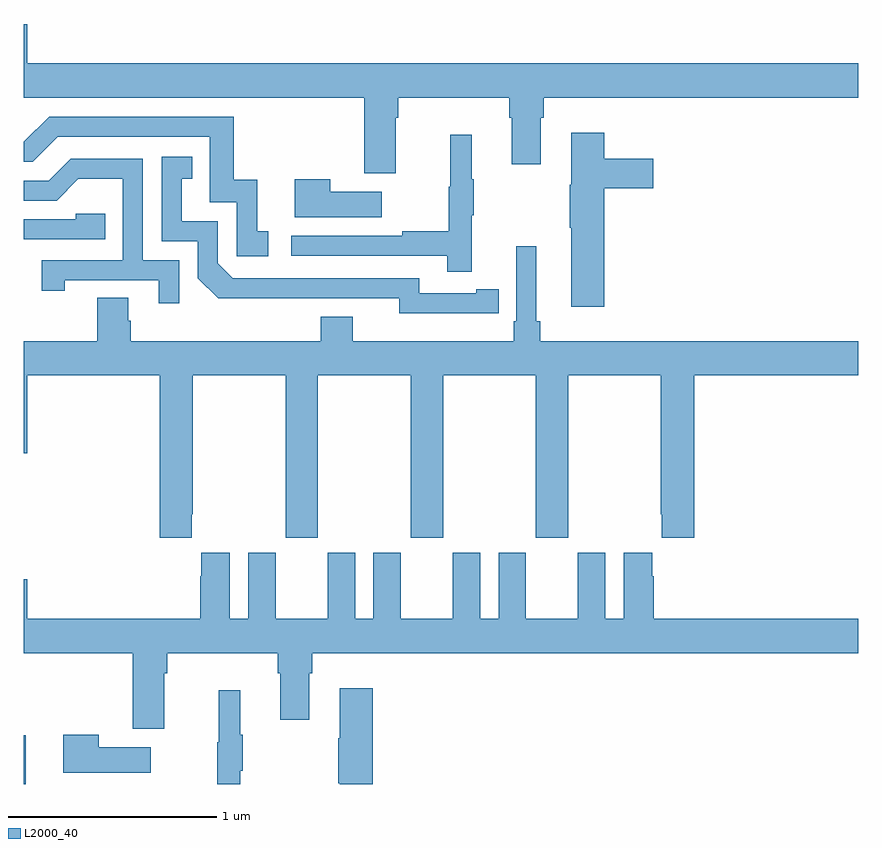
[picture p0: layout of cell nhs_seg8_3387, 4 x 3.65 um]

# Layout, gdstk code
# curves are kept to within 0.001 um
import gdstk
lib = gdstk.Library(unit=1e-6, precision=1e-09)
def R(c, l, rs):  # rectangles x0, y0, x1, y1
    for r in rs: c.add(gdstk.rectangle(r[:2], r[2:], *l))
def P(c, l, *ps):  # polygons
    for p in ps: c.add(gdstk.Polygon(p, *l))
L2000_40 = (2000, 40)

nhs_seg8_3387 = lib.new_cell('nhs_seg8_3387')
R(nhs_seg8_3387, L2000_40, [(321,1087.9,321.008,1088.134)])
P(nhs_seg8_3387, L2000_40, [(321.016,1091.545),(321,1091.545),(321,1091.192),(322.631,1091.192),(322.631,1090.83),(322.783,1090.83),(322.783,1091.096),(322.796,1091.096),(322.796,1091.192),(323.327,1091.192),(323.327,1091.096),(323.339,1091.096),(323.339,1090.872),(323.479,1090.872),(323.479,1091.096),(323.492,1091.096),(323.492,1091.192),(325,1091.192),(325,1091.356),(321.016,1091.356)],
  [(322.171,1090.551),(322.118,1090.551),(322.118,1090.798),(322.007,1090.798),(322.007,1091.1),(321.12,1091.1),(321,1090.98),(321,1090.884),(321.042,1090.884),(321.162,1091.004),(321.891,1091.004),(321.891,1090.689),(322.02,1090.689),(322.02,1090.431),(322.171,1090.431)],
  [(323.783,1090.757),(324.019,1090.757),(324.019,1090.899),(323.783,1090.899),(323.783,1091.023),(323.624,1091.023),(323.624,1090.773),(323.617,1090.773),(323.617,1090.567),(323.624,1090.567),(323.624,1090.188),(323.783,1090.188)],
  [(323.147,1090.627),(323.158,1090.627),(323.158,1090.801),(323.147,1090.801),(323.147,1091.014),(323.044,1091.014),(323.044,1090.764),(323.037,1090.764),(323.037,1090.55),(322.813,1090.55),(322.813,1090.53),(322.281,1090.53),(322.281,1090.434),(323.029,1090.434),(323.029,1090.356),(323.147,1090.356)],
  [(323.168,1090.158),(323.276,1090.158),(323.276,1090.274),(323.168,1090.274),(323.168,1090.254),(322.896,1090.254),(322.896,1090.326),(322.002,1090.326),(321.93,1090.398),(321.93,1090.599),(321.757,1090.599),(321.757,1090.803),(321.806,1090.803),(321.806,1090.909),(321.66,1090.909),(321.66,1090.503),(321.834,1090.503),(321.834,1090.326),(321.932,1090.229),(322.8,1090.23),(322.8,1090.157)],
  [(321.744,1090.413),(321.57,1090.413),(321.57,1090.899),(321.224,1090.899),(321.119,1090.794),(321,1090.794),(321,1090.698),(321.156,1090.698),(321.26,1090.802),(321.474,1090.802),(321.474,1090.413),(321.085,1090.413),(321.085,1090.266),(321.196,1090.266),(321.196,1090.317),(321.647,1090.317),(321.647,1090.206),(321.744,1090.206)],
  [(322.717,1090.741),(322.469,1090.741),(322.469,1090.801),(322.298,1090.801),(322.298,1090.619),(322.717,1090.619)],
  [(321.389,1090.635),(321.249,1090.635),(321.249,1090.608),(321,1090.608),(321,1090.512),(321.389,1090.512)],
  [(321.805,1089.193),(321.81,1089.193),(321.81,1089.86),(322.255,1089.86),(322.255,1089.081),(322.41,1089.081),(322.41,1089.86),(322.855,1089.86),(322.855,1089.081),(323.01,1089.081),(323.01,1089.86),(323.455,1089.86),(323.455,1089.081),(323.61,1089.081),(323.61,1089.86),(324.055,1089.86),(324.055,1089.193),(324.059,1089.193),(324.059,1089.081),(324.215,1089.081),(324.215,1089.86),(325,1089.86),(325,1090.024),(323.477,1090.024),(323.477,1090.12),(323.458,1090.12),(323.458,1090.48),(323.361,1090.48),(323.361,1090.12),(323.348,1090.12),(323.348,1090.024),(322.576,1090.024),(322.576,1090.141),(322.424,1090.141),(322.424,1090.024),(321.512,1090.024),(321.512,1090.122),(321.499,1090.122),(321.499,1090.232),(321.352,1090.232),(321.352,1090.024),(321,1090.024),(321,1089.486),(321.016,1089.486),(321.016,1089.86),(321.65,1089.86),(321.65,1089.081),(321.805,1089.081)],
  [(321.673,1088.432),(321.686,1088.432),(321.686,1088.528),(322.217,1088.528),(322.217,1088.432),(322.229,1088.432),(322.229,1088.208),(322.369,1088.208),(322.369,1088.432),(322.382,1088.432),(322.382,1088.528),(325,1088.528),(325,1088.692),(324.02,1088.692),(324.02,1088.897),(324.013,1088.897),(324.013,1089.01),(323.876,1089.01),(323.876,1088.692),(323.788,1088.692),(323.788,1089.01),(323.657,1089.01),(323.657,1088.692),(323.407,1088.692),(323.407,1089.01),(323.276,1089.01),(323.276,1088.692),(323.188,1088.692),(323.188,1089.01),(323.057,1089.01),(323.057,1088.692),(322.807,1088.692),(322.807,1089.01),(322.676,1089.01),(322.676,1088.692),(322.588,1088.692),(322.588,1089.01),(322.457,1089.01),(322.457,1088.692),(322.207,1088.692),(322.207,1089.01),(322.076,1089.01),(322.076,1088.692),(321.988,1088.692),(321.988,1089.01),(321.851,1089.01),(321.851,1088.897),(321.845,1088.897),(321.845,1088.692),(321.016,1088.692),(321.016,1088.881),(321,1088.881),(321,1088.528),(321.521,1088.528),(321.521,1088.166),(321.673,1088.166)],
  [(322.673,1088.359),(322.514,1088.359),(322.514,1088.12),(322.507,1088.12),(322.507,1087.903),(322.514,1087.903),(322.514,1087.9),(322.673,1087.9)],
  [(322.037,1087.963),(322.048,1087.963),(322.048,1088.137),(322.037,1088.137),(322.037,1088.35),(321.934,1088.35),(321.934,1088.1),(321.927,1088.1),(321.927,1087.9),(322.037,1087.9)],
  [(321.607,1088.077),(321.359,1088.077),(321.359,1088.137),(321.188,1088.137),(321.188,1087.955),(321.607,1087.955)])

lib.write_gds('nhs_seg8_3387.gds')
